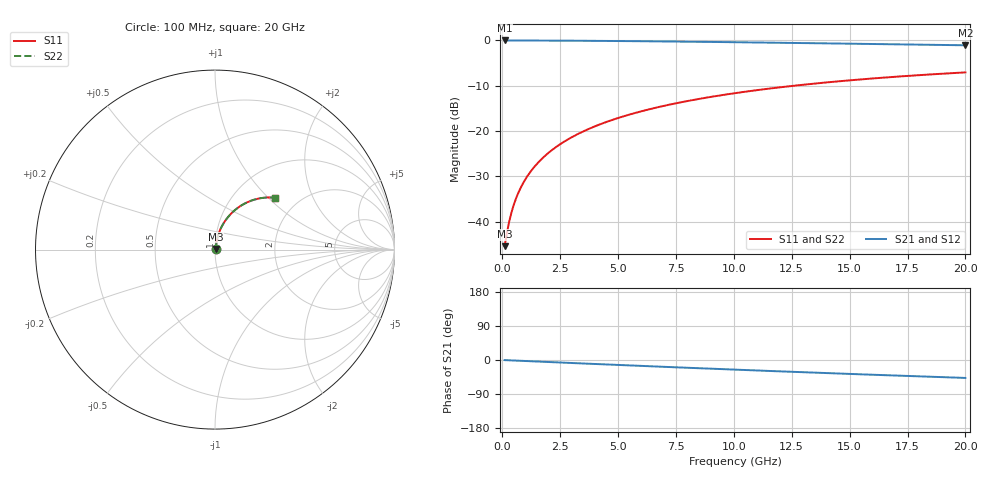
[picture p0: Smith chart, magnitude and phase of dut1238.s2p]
! Touchstone file exported from HFSS 2026.1.0
!  File:  C:/ffzhzh/LocalFiles/Ansys_Project_Files/temp_train_TMRDL_1238_1783163603_43440.aedt
!  Generated:  07:14:38 PM Jul  4, 2026
!  Design:  TMRDL
!  Project:  temp_train_TMRDL_1238_1783163603_43440
! Variables:
!  h_bsmrdl = 2um
!  h_ox = 20um
!  h_rdl = 5um
!  h_sub = 80um
!  h_tmrdl = 5.03um
!  h_tsv = 80um
!  h_via = 3um
!  l_bsmrdl = 300um
!  l_sub = 1119.47um
!  l_tmrdl = 719.47um
!  m_sub = 200um
!  pitch = 34.26um
!  r_tsv = 6um
!  s_tmrdl = 10um
!  w_bsmrdl = 18um
!  w_sub = 500um
!  w_tmrdl = 11.44um
!  x_tsv_center1 = 725.19um
!  x_tsv_center2 = 1043.19um
!  x_tsv_center3 = 1774.1um
!  x_tsv_center4 = 2092.1um
!  x_tsv_center5 = 2823.01um
!  x_tsv_center6 = 3141.01um
# GHz S MA R 50.000000
! Terminal data exported
! Port[1] = TM_RDL1_1_T1
! Port[2] = TM_RDL1_1_T2
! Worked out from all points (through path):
!   200 points, 100 MHz to 20 GHz, reference 50 ohm
!   highest |S21| = -0.04 dB at 100 MHz (marker M1); lowest = -1.1 dB at 20 GHz (marker M2)
!   group delay of S21, straight-line fit = 6.57 ps
!   lowest |S11| = -45.4 dB at 100 MHz (marker M3), VSWR 1.01, Z = 50.4 + j0.304 ohm
!   |S11| at or under -10 dB: start of sweep to 12.63 GHz
!   |S22| runs from -45.4 to -7.1 dB; largest |S21 - S12| = 4.4e-15
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0.1  0.005383 34.1  0.9956 -0.3  0.9956 -0.3  0.005383 34.1
! Gamma 0 0 0 0
! Port Impedance 50 0 50 0
0.2  0.007548 52.4  0.9954 -0.5  0.9954 -0.5  0.007548 52.4
0.3  0.0101 61.7  0.9953 -0.8  0.9953 -0.8  0.0101 61.7
0.4  0.01278 67.0  0.9952 -1.1  0.9952 -1.1  0.01278 67.0
0.5  0.01551 70.4  0.995 -1.4  0.995 -1.4  0.01551 70.4
0.6  0.01827 72.7  0.9949 -1.6  0.9949 -1.6  0.01827 72.7
0.8  0.02384 75.6  0.9947 -2.1  0.9947 -2.1  0.02384 75.6
1.1  0.03227 77.7  0.9942 -2.9  0.9942 -2.9  0.03227 77.7
1.3  0.03791 78.4  0.9939 -3.5  0.9939 -3.5  0.03791 78.4
1.6  0.04638 78.8  0.9934 -4.3  0.9934 -4.3  0.04638 78.8
2.1  0.06044 78.8  0.9922 -5.6  0.9922 -5.6  0.06044 78.8
2.7  0.07717 78.0  0.9905 -7.2  0.9905 -7.2  0.07717 78.0
3.5  0.09913 76.5  0.9878 -9.2  0.9878 -9.2  0.09914 76.5
4.2  0.118 75.1  0.985 -11.0  0.985 -11.0  0.118 75.1
5  0.1391 73.3  0.9815 -13.1  0.9815 -13.1  0.1391 73.3
5.9  0.1623 71.2  0.977 -15.3  0.977 -15.3  0.1623 71.2
6.8  0.1849 69.1  0.9722 -17.6  0.9722 -17.6  0.1849 69.1
8.3  0.2213 65.7  0.9635 -21.3  0.9635 -21.3  0.2213 65.7
10.1  0.2626 61.6  0.952 -25.6  0.952 -25.6  0.2626 61.6
13.4  0.3316 54.3  0.929 -33.2  0.929 -33.2  0.3316 54.3
16.7  0.3917 47.4  0.9048 -40.4  0.9048 -40.4  0.3917 47.4
20  0.4427 40.7  0.8809 -47.3  0.8809 -47.3  0.4428 40.7
